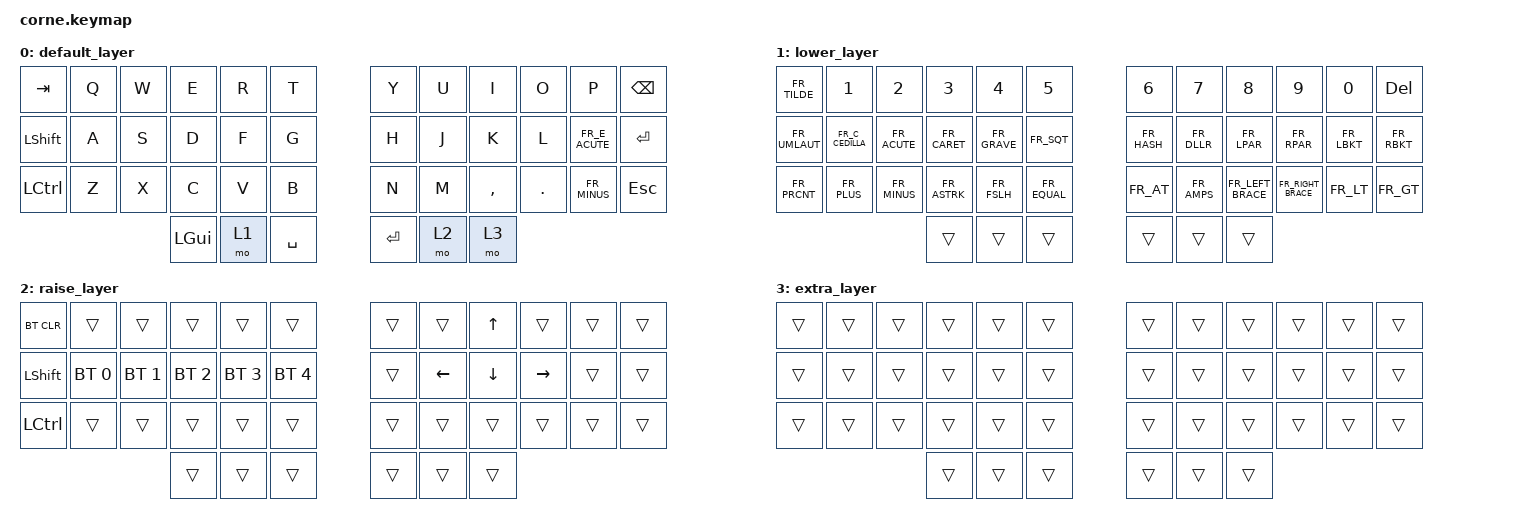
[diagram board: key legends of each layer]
/*
 * Copyright (c) 2020 The ZMK Contributors
 * SPDX-License-Identifier: MIT
 */

#include <behaviors.dtsi>
#include <dt-bindings/zmk/keys.h>
#include <dt-bindings/zmk/bt.h>
#include <locale/keys_fr_swiss.h>

/ {
    keymap {
        compatible = "zmk,keymap";

        // Layer 0 — Base QWERTZ Swiss FR
        // ,------------------------------------.                    ,------------------------------------.
        // | TAB  |  Q  |  W  |  E  |  R  |  T  |                    |  Z  |  U  |  I  |  O  |  P  | BSPC |
        // |------+-----+-----+-----+-----+-----|                    |-----+-----+-----+-----+-----+------|
        // | SHFT |  A  |  S  |  D  |  F  |  G  |                    |  H  |  J  |  K  |  L  |  é  | ENT  |
        // |------+-----+-----+-----+-----+-----|                    |-----+-----+-----+-----+-----+------|
        // | CTRL |  Y  |  X  |  C  |  V  |  B  |                    |  N  |  M  |  ,  |  .  |  -  | ESC  |
        // `------------------+-----+-----+-----|                    |-----+-----+-----+-----------------.
        //                    | GUI | LWR | SPC |                    | ENT | RSE | LY3 |
        //                    `-----------------'                    `-----------------'

        default_layer {
            bindings = <
&kp TAB    &kp Q  &kp W  &kp E  &kp R  &kp T          &kp Y  &kp U  &kp I      &kp O    &kp P     &kp BSPC
&kp LSHFT  &kp A  &kp S  &kp D  &kp F  &kp G          &kp H  &kp J  &kp K      &kp L    &kp FR_E_ACUTE  &kp RET
&kp LCTRL  &kp Z  &kp X  &kp C  &kp V  &kp B          &kp N  &kp M  &kp COMMA  &kp DOT  &kp FR_MINUS &kp ESC
                  &kp LGUI  &mo 1  &kp SPACE          &kp RET  &mo 2  &mo 3
            >;
        };

        // Layer 1 — Numbers + Swiss FR accents + Symbols  (hold left thumb)
        // ,-----------------------------------.                    ,------------------------------------.
        // |  ~  |  1  |  2  |  3  |  4  |  5  |                    |  6  |  7  |  8  |  9  |  0  | DEL  |
        // |-----+-----+-----+-----+-----+-----|                    |-----+-----+-----+-----+-----+------|
        // |  ¨  |  ç  |  ´  |  ^  |  `  |  '  |                    |  #  |  $  |  (  |  )  |  [  |   ]  |
        // |-----+-----+-----+-----+-----+-----|                    |-----+-----+-----+-----+-----+------|
        // |  %  |  +  |  -  |  *  |  /  |  =  |                    |  @  |  &  |  {  |  }  |  <  |  >   |
        // `-----------------+-----+-----+-----|                    |-----+-----+-----+-----------------.
        //                   |     | LY1 |     |                    |     | LY2 | LY3 |
        //                   `-----------------'                    `-----------------'

        lower_layer {
            bindings = <
&kp FR_TILDE   &kp N1          &kp N2        &kp N3        &kp N4        &kp N5           &kp N6       &kp N7       &kp N8             &kp N9             &kp N0       &kp DEL
&kp FR_UMLAUT  &kp FR_C_CEDILLA &kp FR_ACUTE  &kp FR_CARET  &kp FR_GRAVE  &kp FR_SQT      &kp FR_HASH  &kp FR_DLLR  &kp FR_LPAR        &kp FR_RPAR        &kp FR_LBKT  &kp FR_RBKT
&kp FR_PRCNT   &kp FR_PLUS     &kp FR_MINUS  &kp FR_ASTRK  &kp FR_FSLH   &kp FR_EQUAL     &kp FR_AT    &kp FR_AMPS  &kp FR_LEFT_BRACE  &kp FR_RIGHT_BRACE &kp FR_LT    &kp FR_GT
                               &trans  &trans  &trans            &trans  &trans  &trans
            >;
        };

        // Layer 2 — Navigation + F-keys  (hold right thumb)
        // ,------------------------------------.                    ,------------------------------------.
        // | BTCLR|     |     |     |     |     |                    |     |     |  ↑  |     |     |      |
        // |------+-----+-----+-----+-----+-----|                    |-----+-----+-----+-----+-----+------|
        // | SHFT |BT 0 |BT 1 |BT 2 |BT 3 |BT 4 |                    |     |  ←  |  ↓  |  →  |     |      |
        // |------+-----+-----+-----+-----+-----|                    |-----+-----+-----+-----+-----+------|
        // | CTRL |     |     |     |     |     |                    |     |     |     |     |     |      |
        // `------------------+-----+-----+-----|                    |-----+-----+-----+-----------------.
        //                    |     | LY1 |     |                    |     | LY2 | LY3 |
        //                    `-----------------'                    `-----------------'

        raise_layer {
            bindings = <
&bt BT_CLR  &trans  &trans  &trans  &trans  &trans          &trans    &trans    &kp UP    &trans     &trans  &trans
&kp LSHFT &bt BT_SEL 0 &bt BT_SEL 1 &bt BT_SEL 2 &bt BT_SEL 3 &bt BT_SEL 4    &trans  &kp LEFT  &kp DOWN  &kp RIGHT  &trans  &trans
&kp LCTRL  &trans  &trans  &trans  &trans  &trans          &trans    &trans    &trans    &trans     &trans  &trans
                &trans  &trans  &trans                  &trans    &trans    &trans
            >;
        };

        // Layer 3 — (hold RALT)  — fill in as needed
        // ,------------------------------------.                    ,------------------------------------.
        // |      |     |     |     |     |     |                    |     |     |     |     |     |      |
        // |------+-----+-----+-----+-----+-----|                    |-----+-----+-----+-----+-----+------|
        // |      |     |     |     |     |     |                    |     |     |     |     |     |      |
        // |------+-----+-----+-----+-----+-----|                    |-----+-----+-----+-----+-----+------|
        // |      |     |     |     |     |     |                    |     |     |     |     |     |      |
        // `------------------+-----+-----+-----|                    |-----+-----+-----+-----------------.
        //                    |     | LY1 |     |                    |     | LY2 | LY3 |
        //                    `-----------------'                    `-----------------'
        extra_layer {
            bindings = <
&trans  &trans  &trans  &trans  &trans  &trans          &trans  &trans  &trans  &trans  &trans  &trans
&trans  &trans  &trans  &trans  &trans  &trans          &trans  &trans  &trans  &trans  &trans  &trans
&trans  &trans  &trans  &trans  &trans  &trans          &trans  &trans  &trans  &trans  &trans  &trans
                &trans  &trans  &trans                  &trans  &trans  &trans
            >;
        };
    };
};
